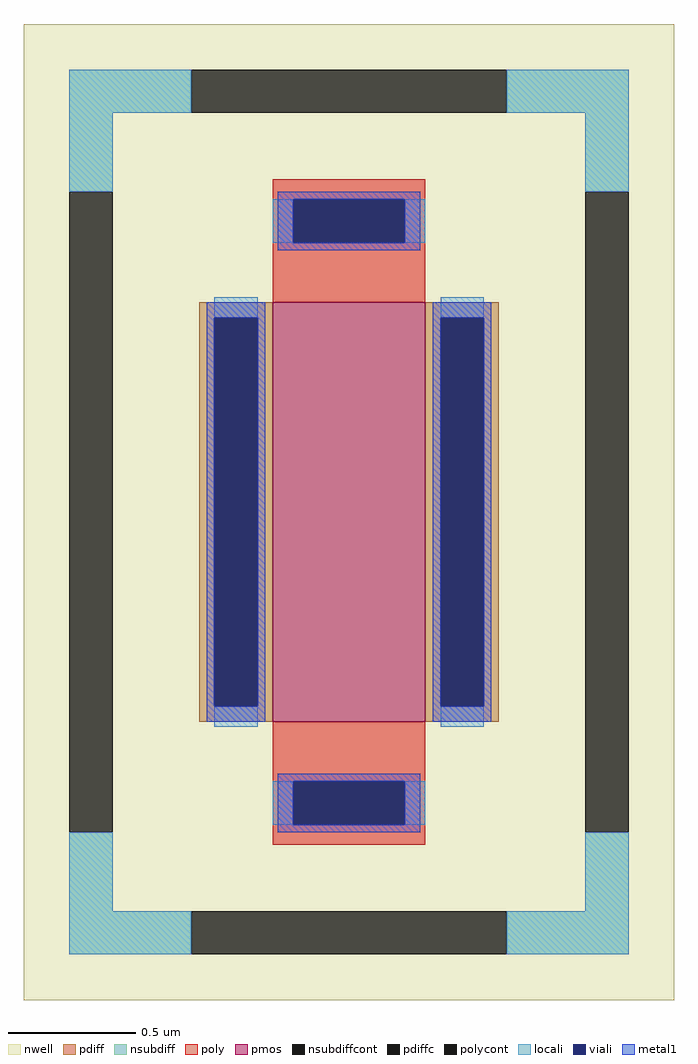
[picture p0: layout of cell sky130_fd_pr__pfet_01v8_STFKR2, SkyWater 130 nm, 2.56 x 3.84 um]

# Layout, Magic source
magic
tech sky130A
magscale 1 2
<< nwell >>
rect -256 -384 256 384
<< pmos >>
rect -60 -165 60 165
<< pdiff >>
rect -118 153 -60 165
rect -118 -153 -106 153
rect -72 -153 -60 153
rect -118 -165 -60 -153
rect 60 153 118 165
rect 60 -153 72 153
rect 106 -153 118 153
rect 60 -165 118 -153
<< pdiffc >>
rect -106 -153 -72 153
rect 72 -153 106 153
<< nsubdiff >>
rect -220 314 -124 348
rect 124 314 220 348
rect -220 252 -186 314
rect 186 252 220 314
rect -220 -314 -186 -252
rect 186 -314 220 -252
rect -220 -348 -124 -314
rect 124 -348 220 -314
<< nsubdiffcont >>
rect -124 314 124 348
rect -220 -252 -186 252
rect 186 -252 220 252
rect -124 -348 124 -314
<< poly >>
rect -60 246 60 262
rect -60 212 -44 246
rect 44 212 60 246
rect -60 165 60 212
rect -60 -212 60 -165
rect -60 -246 -44 -212
rect 44 -246 60 -212
rect -60 -262 60 -246
<< polycont >>
rect -44 212 44 246
rect -44 -246 44 -212
<< locali >>
rect -220 314 -124 348
rect 124 314 220 348
rect -220 252 -186 314
rect 186 252 220 314
rect -60 212 -44 246
rect 44 212 60 246
rect -106 153 -72 169
rect -106 -169 -72 -153
rect 72 153 106 169
rect 72 -169 106 -153
rect -60 -246 -44 -212
rect 44 -246 60 -212
rect -220 -314 -186 -252
rect 186 -314 220 -252
rect -220 -348 -124 -314
rect 124 -348 220 -314
<< viali >>
rect -44 212 44 246
rect -106 -153 -72 153
rect 72 -153 106 153
rect -44 -246 44 -212
<< metal1 >>
rect -56 246 56 252
rect -56 212 -44 246
rect 44 212 56 246
rect -56 206 56 212
rect -112 153 -66 165
rect -112 -153 -106 153
rect -72 -153 -66 153
rect -112 -165 -66 -153
rect 66 153 112 165
rect 66 -153 72 153
rect 106 -153 112 153
rect 66 -165 112 -153
rect -56 -212 56 -206
rect -56 -246 -44 -212
rect 44 -246 56 -212
rect -56 -252 56 -246
<< properties >>
string FIXED_BBOX -203 -331 203 331
string gencell sky130_fd_pr__pfet_01v8
string library sky130
string parameters w 1.65 l 0.6 m 1 nf 1 diffcov 100 polycov 100 guard 1 glc 1 grc 1 gtc 1 gbc 1 tbcov 100 rlcov 100 topc 1 botc 1 poverlap 0 doverlap 1 lmin 0.15 wmin 0.42 class mosfet compatible {sky130_fd_pr__pfet_01v8  sky130_fd_pr__pfet_01v8_lvt sky130_fd_pr__pfet_01v8_hvt  sky130_fd_pr__pfet_g5v0d10v5} full_metal 1 viasrc 100 viadrn 100 viagate 100 viagb 0 viagr 0 viagl 0 viagt 0
<< end >>
